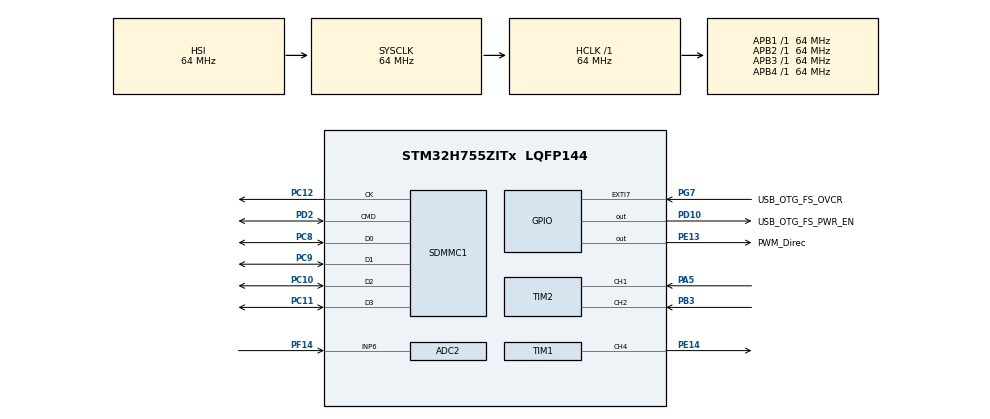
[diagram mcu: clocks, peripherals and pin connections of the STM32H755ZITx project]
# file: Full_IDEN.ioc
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ADC2.Channel-0\#ChannelRegularConversion=ADC_CHANNEL_6
ADC2.ConversionDataManagement=ADC_CONVERSIONDATA_DMA_CIRCULAR
ADC2.ExternalTrigConv=ADC_EXTERNALTRIG_T1_TRGO
ADC2.NbrOfConversionFlag=1
ADC2.OffsetNumber-0\#ChannelRegularConversion=ADC_OFFSET_NONE
ADC2.OffsetSignedSaturation-0\#ChannelRegularConversion=DISABLE
ADC2.Rank-0\#ChannelRegularConversion=1
ADC2.SamplingTime-0\#ChannelRegularConversion=ADC_SAMPLETIME_1CYCLE_5
CortexM4.IPs=FATFS_M4\:I,FREERTOS_M4\:I,IWDG2\:I,RCC,WWDG2\:I,DMA,BDMA,MDMA,NVIC2\:I,ETH,USART3,DEBUG,PDM2PCM_M4\:I,PWR,RESMGR_UTILITY,SYS_M4\:I,USB_DEVICE_M4\:I,USB_HOST_M4\:I,CORTEX_M4\:I,GPIO,OPENAMP_M4\:I,VREFBUF,NUCLEO-H755ZI-Q
CortexM7.IPs=FATFS_M7\:I,FREERTOS_M7\:I,IWDG1\:I,RCC\:I,WWDG1\:I,DMA\:I,BDMA\:I,MDMA\:I,NVIC1\:I,ETH\:I,USART3\:I,USB_OTG_FS\:I,USB_OTG_FS1\:I,SYS\:I,CORTEX_M7\:I,DEBUG\:I,PDM2PCM_M7\:I,PWR\:I,RESMGR_UTILITY\:I,USB_DEVICE_M7\:I,USB_HOST_M7\:I,GPIO\:I,OPENAMP_M7\:I,VREFBUF\:I,NUCLEO-H755ZI-Q\:I,TIM2\:I,ADC2\:I,TIM1\:I,SDMMC1\:I
CortexM7.Pins=PE13
Dma.ADC2.0.Direction=DMA_PERIPH_TO_MEMORY
Dma.ADC2.0.EventEnable=DISABLE
Dma.ADC2.0.FIFOMode=DMA_FIFOMODE_DISABLE
Dma.ADC2.0.Instance=DMA1_Stream0
Dma.ADC2.0.MemDataAlignment=DMA_MDATAALIGN_HALFWORD
Dma.ADC2.0.MemInc=DMA_MINC_ENABLE
Dma.ADC2.0.Mode=DMA_CIRCULAR
Dma.ADC2.0.PeriphDataAlignment=DMA_PDATAALIGN_HALFWORD
Dma.ADC2.0.PeriphInc=DMA_PINC_DISABLE
Dma.ADC2.0.Polarity=HAL_DMAMUX_REQ_GEN_RISING
Dma.ADC2.0.Priority=DMA_PRIORITY_LOW
Dma.ADC2.0.RequestNumber=1
Dma.ADC2.0.SignalID=NONE
Dma.ADC2.0.SyncEnable=DISABLE
Dma.ADC2.0.SyncPolarity=HAL_DMAMUX_SYNC_NO_EVENT
Dma.ADC2.0.SyncRequestNumber=1
Dma.ADC2.0.SyncSignalID=NONE
Dma.Request0=ADC2
FATFS_M7._FS_LOCK=3
FATFS_M7._USE_EXPAND=1
FATFS_M7._USE_LFN=2
Mcu.Family=STM32H7
Mcu.Name=STM32H755ZITx
Mcu.Package=LQFP144
NUCLEO-H755ZI-Q.BUTTON=1
NUCLEO-H755ZI-Q.Bsp_Common_DEMO=true
NUCLEO-H755ZI-Q.LD1=true
NUCLEO-H755ZI-Q.LD2=true
NUCLEO-H755ZI-Q.LD3=true
NUCLEO-H755ZI-Q.VCP=true
NVIC1.DMA1_Stream0_IRQn=true\:0\:0\:false\:false\:true\:false\:true\:true
NVIC1.EXTI15_10_IRQn=true\:0\:0\:false\:false\:true\:false\:true\:true
NVIC1.PriorityGroup=NVIC_PRIORITYGROUP_4
NVIC1.TIM1_UP_IRQn=true\:0\:0\:false\:false\:true\:true\:true\:true
NVIC2.PriorityGroup=NVIC_PRIORITYGROUP_4
PA1.PinAttribute=CortexM7
PA1.Signal=ETH_REF_CLK
PA11.PinAttribute=CortexM7
PA11.Signal=USB_OTG_FS_DM
PA12.PinAttribute=CortexM7
PA12.Signal=USB_OTG_FS_DP
PA2.PinAttribute=CortexM7
PA2.Signal=ETH_MDIO
PA5.PinAttribute=CortexM7
PA5.Signal=S_TIM2_CH1_ETR
PA7.PinAttribute=CortexM7
PA7.Signal=ETH_CRS_DV
PA8.PinAttribute=CortexM7
PA8.Signal=USB_OTG_FS_SOF
PA9.PinAttribute=CortexM7
PA9.Signal=USB_OTG_FS_VBUS
PB13.PinAttribute=CortexM7
PB13.Signal=ETH_TXD1
PB3\ (JTDO/TRACESWO).PinAttribute=CortexM7
PB3\ (JTDO/TRACESWO).Signal=S_TIM2_CH2
PC1.PinAttribute=CortexM7
PC1.Signal=ETH_MDC
PC10.Mode=SD_4_bits_Wide_bus
PC10.PinAttribute=CortexM7
PC10.Signal=SDMMC1_D2
PC11.Mode=SD_4_bits_Wide_bus
PC11.PinAttribute=CortexM7
PC11.Signal=SDMMC1_D3
PC12.Mode=SD_4_bits_Wide_bus
PC12.PinAttribute=CortexM7
PC12.Signal=SDMMC1_CK
PC14-OSC32_IN\ (OSC32_IN).PinAttribute=Free
PC14-OSC32_IN\ (OSC32_IN).Signal=RCC_OSC32_IN
PC15-OSC32_OUT\ (OSC32_OUT).PinAttribute=Free
PC15-OSC32_OUT\ (OSC32_OUT).Signal=RCC_OSC32_OUT
PC4.PinAttribute=CortexM7
PC4.Signal=ETH_RXD0
PC5.PinAttribute=CortexM7
PC5.Signal=ETH_RXD1
PC8.Mode=SD_4_bits_Wide_bus
PC8.PinAttribute=CortexM7
PC8.Signal=SDMMC1_D0
PC9.Mode=SD_4_bits_Wide_bus
PC9.PinAttribute=CortexM7
PC9.Signal=SDMMC1_D1
PD10.GPIO_Label=USB_OTG_FS_PWR_EN
PD10.PinAttribute=Free
PD10.Signal=GPIO_Output
PD2.Mode=SD_4_bits_Wide_bus
PD2.PinAttribute=CortexM7
PD2.Signal=SDMMC1_CMD
PD8.Signal=USART3_TX
PD9.Signal=USART3_RX
PE13.GPIO_Label=PWM_Direc
PE13.PinAttribute=CortexM7
PE13.Signal=GPIO_Output
PE14.PinAttribute=CortexM7
PE14.Signal=S_TIM1_CH4
PF14.Mode=IN6-Single-Ended
PF14.PinAttribute=CortexM7
PF14.Signal=ADC2_INP6
PG11.PinAttribute=CortexM7
PG11.Signal=ETH_TX_EN
PG13.PinAttribute=CortexM7
PG13.Signal=ETH_TXD0
PG7.GPIO_Label=USB_OTG_FS_OVCR
PG7.PinAttribute=Free
PG7.Signal=GPXTI7
PH0-OSC_IN\ (PH0).PinAttribute=Free
PH0-OSC_IN\ (PH0).Signal=RCC_OSC_IN
PH1-OSC_OUT\ (PH1).PinAttribute=Free
PH1-OSC_OUT\ (PH1).Signal=RCC_OSC_OUT
ProjectManager.HeapSize=M4-0x200,M7-0x200
ProjectManager.StackSize=M4-0x400,M7-0x400
ProjectManager.TargetToolchain=CMake
RCC.ADCFreq_Value=80000000
RCC.APB1Freq_Value=64000000
RCC.APB2Freq_Value=64000000
RCC.APB3Freq_Value=64000000
RCC.APB4Freq_Value=64000000
RCC.CortexFreq_Value=64000000
RCC.DIVM1=4
RCC.DIVM2=4
RCC.DIVN1=9
RCC.DIVN2=10
RCC.HCLKFreq_Value=64000000
RCC.PLL2FRACN=0
RCC.PLL3FRACN=0
RCC.PLLFRACN=3072
RCC.SYSCLKFreq_VALUE=64000000
RCC.SupplySource=PWR_DIRECT_SMPS_SUPPLY
RCC.USBFreq_Value=75000000
SDMMC1.ClockDiv=12
SH.S_TIM1_CH4.0=TIM1_CH4,PWM Generation4 CH4
SH.S_TIM2_CH1_ETR.0=TIM2_CH1,Encoder_Interface
SH.S_TIM2_CH2.0=TIM2_CH2,Encoder_Interface
TIM1.Channel-PWM\ Generation4\ CH4=TIM_CHANNEL_4
TIM1.Period=50 - 1
TIM1.Prescaler=64 - 1
TIM1.TIM_MasterOutputTrigger=TIM_TRGO_UPDATE
TIM2.EncoderMode=TIM_ENCODERMODE_TI12
TIM2.IC1Filter=3
TIM2.IC2Filter=3
VP_FATFS_M7_VS_SDIO.Mode=SDIO
VP_NUCLEO-H755ZI-Q_VS_BSP_COMMON.Mode=COMMON
VP_SYS_M4_VS_Systick.Mode=SysTick
VP_TIM1_VS_ClockSourceINT.Mode=Internal
board=NUCLEO-H755ZI-Q

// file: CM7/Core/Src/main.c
/* USER CODE BEGIN Header */
/**
 ******************************************************************************
 * @file           : main.c
 * @brief          : Main program body
 ******************************************************************************
 * @attention
 *
 * Copyright (c) 2026 STMicroelectronics.
 * All rights reserved.
 *
 * This software is licensed under terms that can be found in the LICENSE file
 * in the root directory of this software component.
 * If no LICENSE file comes with this software, it is provided AS-IS.
 *
 ******************************************************************************
 */
/* USER CODE END Header */
#include "main.h"
#include "fatfs.h"

/* USER CODE BEGIN Includes */
#ifdef __cplusplus
extern "C"
{
#endif
  void app_main(void);
#ifdef __cplusplus
}
#endif

/* USER CODE END Includes */

/* USER CODE BEGIN PD */

/* DUAL_CORE_BOOT_SYNC_SEQUENCE: Define for dual core boot synchronization    */
/*                             demonstration code based on hardware semaphore */
/* This define is present in both CM7/CM4 projects                            */
/* To comment when developping/debugging on a single core                     */
// #define DUAL_CORE_BOOT_SYNC_SEQUENCE

#if defined(DUAL_CORE_BOOT_SYNC_SEQUENCE)
#ifndef HSEM_ID_0
#define HSEM_ID_0 (0U) /* HW semaphore 0*/
#endif
#endif /* DUAL_CORE_BOOT_SYNC_SEQUENCE */

/* USER CODE END PD */

COM_InitTypeDef BspCOMInit;
__IO uint32_t BspButtonState = BUTTON_RELEASED;
ADC_HandleTypeDef hadc2;
DMA_HandleTypeDef hdma_adc2;

SD_HandleTypeDef hsd1;

TIM_HandleTypeDef htim1;
TIM_HandleTypeDef htim2;

/* USER CODE BEGIN PV */
// uint16_t adc_buffer[1];

volatile uint32_t k2 = 0; // ADC interrupt
volatile uint32_t k3 = 0; // Timer interrupt
/* USER CODE END PV */

void SystemClock_Config(void);
static void MX_GPIO_Init(void);
static void MX_DMA_Init(void);
static void MX_TIM2_Init(void);
static void MX_ADC2_Init(void);
static void MX_TIM1_Init(void);
static void MX_SDMMC1_SD_Init(void);

int main(void)
{

/* USER CODE BEGIN Boot_Mode_Sequence_0 */
#if defined(DUAL_CORE_BOOT_SYNC_SEQUENCE)
  int32_t timeout;
#endif /* DUAL_CORE_BOOT_SYNC_SEQUENCE */
/* USER CODE END Boot_Mode_Sequence_0 */

/* USER CODE BEGIN Boot_Mode_Sequence_1 */
#if defined(DUAL_CORE_BOOT_SYNC_SEQUENCE)
  /* Wait until CPU2 boots and enters in stop mode or timeout*/
  timeout = 0xFFFF;
  while ((__HAL_RCC_GET_FLAG(RCC_FLAG_D2CKRDY) != RESET) && (timeout-- > 0))
    ;
  if (timeout < 0)
  {
    Error_Handler();
  }
#endif /* DUAL_CORE_BOOT_SYNC_SEQUENCE */
       /* USER CODE END Boot_Mode_Sequence_1 */
  /* MCU Configuration--------------------------------------------------------*/

  /* Reset of all peripherals, Initializes the Flash interface and the Systick. */
  HAL_Init();

  /* Configure the system clock */
  SystemClock_Config();
/* USER CODE BEGIN Boot_Mode_Sequence_2 */
#if defined(DUAL_CORE_BOOT_SYNC_SEQUENCE)
  /* When system initialization is finished, Cortex-M7 will release Cortex-M4 by means of
  HSEM notification */
  /*HW semaphore Clock enable*/
  __HAL_RCC_HSEM_CLK_ENABLE();
  /*Take HSEM */
  HAL_HSEM_FastTake(HSEM_ID_0);
  /*Release HSEM in order to notify the CPU2(CM4)*/
  HAL_HSEM_Release(HSEM_ID_0, 0);
  /* wait until CPU2 wakes up from stop mode */
  timeout = 0xFFFF;
  while ((__HAL_RCC_GET_FLAG(RCC_FLAG_D2CKRDY) == RESET) && (timeout-- > 0))
    ;
  if (timeout < 0)
  {
    Error_Handler();
  }
#endif /* DUAL_CORE_BOOT_SYNC_SEQUENCE */
       /* USER CODE END Boot_Mode_Sequence_2 */

  /* Initialize all configured peripherals */
  MX_GPIO_Init();
  MX_DMA_Init();
  MX_TIM2_Init();
  MX_ADC2_Init();
  MX_TIM1_Init();
  MX_SDMMC1_SD_Init();
  MX_FATFS_Init();

  /* Initialize leds */
  BSP_LED_Init(LED_GREEN);
  BSP_LED_Init(LED_YELLOW);
  BSP_LED_Init(LED_RED);

  /* Initialize USER push-button, will be used to trigger an interrupt each time it's pressed.*/
  BSP_PB_Init(BUTTON_USER, BUTTON_MODE_EXTI);

  /* Initialize COM1 port (115200, 8 bits (7-bit data + 1 stop bit), no parity */
  BspCOMInit.BaudRate = 115200;
  BspCOMInit.WordLength = COM_WORDLENGTH_8B;
  BspCOMInit.StopBits = COM_STOPBITS_1;
  BspCOMInit.Parity = COM_PARITY_NONE;
  BspCOMInit.HwFlowCtl = COM_HWCONTROL_NONE;
  if (BSP_COM_Init(COM1, &BspCOMInit) != BSP_ERROR_NONE)
  {
    Error_Handler();
  }

  /* USER CODE BEGIN BSP */
  /* -- Sample board code to send message over COM1 port ---- */
  printf("Welcome to STM32 world !\n\r");
  /* -- Sample board code to switch on leds ---- */
  BSP_LED_On(LED_GREEN);
  BSP_LED_On(LED_YELLOW);
  BSP_LED_On(LED_RED);

  app_main();
  // *! -------------------------- APP MAIN -------------------------- !* //
  /* USER CODE END BSP */

  /* Infinite loop */
  /* USER CODE BEGIN WHILE */
  while (1)
  {

    /* -- Sample board code for User push-button in interrupt mode ---- */
    // if (BspButtonState == BUTTON_PRESSED)
    //     {
    //       /* Update button state */
    //       BspButtonState = BUTTON_RELEASED;
    //       /* -- Sample board code to toggle leds ---- */
    //       BSP_LED_Toggle(LED_GREEN);
    //       BSP_LED_Toggle(LED_YELLOW);
    //       BSP_LED_Toggle(LED_RED);
    //       /* ..... Perform your action ..... */
    //     }
    HAL_Delay(500);
    /* USER CODE END WHILE */

  }
}

void SystemClock_Config(void)
{
  RCC_OscInitTypeDef RCC_OscInitStruct = {0};
  RCC_ClkInitTypeDef RCC_ClkInitStruct = {0};

  /** Supply configuration update enable
   */
  HAL_PWREx_ConfigSupply(PWR_DIRECT_SMPS_SUPPLY);

  /** Configure the main internal regulator output voltage
   */
  __HAL_PWR_VOLTAGESCALING_CONFIG(PWR_REGULATOR_VOLTAGE_SCALE3);

  while (!__HAL_PWR_GET_FLAG(PWR_FLAG_VOSRDY))
  {
  }

  /** Initializes the RCC Oscillators according to the specified parameters
   * in the RCC_OscInitTypeDef structure.
   */
  RCC_OscInitStruct.OscillatorType = RCC_OSCILLATORTYPE_HSI;
  RCC_OscInitStruct.HSIState = RCC_HSI_DIV1;
  RCC_OscInitStruct.HSICalibrationValue = RCC_HSICALIBRATION_DEFAULT;
  RCC_OscInitStruct.PLL.PLLState = RCC_PLL_ON;
  RCC_OscInitStruct.PLL.PLLSource = RCC_PLLSOURCE_HSI;
  RCC_OscInitStruct.PLL.PLLM = 4;
  RCC_OscInitStruct.PLL.PLLN = 9;
  RCC_OscInitStruct.PLL.PLLP = 2;
  RCC_OscInitStruct.PLL.PLLQ = 2;
  RCC_OscInitStruct.PLL.PLLR = 2;
  RCC_OscInitStruct.PLL.PLLRGE = RCC_PLL1VCIRANGE_3;
  RCC_OscInitStruct.PLL.PLLVCOSEL = RCC_PLL1VCOMEDIUM;
  RCC_OscInitStruct.PLL.PLLFRACN = 3072;
  if (HAL_RCC_OscConfig(&RCC_OscInitStruct) != HAL_OK)
  {
    Error_Handler();
  }

  /** Initializes the CPU, AHB and APB buses clocks
   */
  RCC_ClkInitStruct.ClockType = RCC_CLOCKTYPE_HCLK | RCC_CLOCKTYPE_SYSCLK | RCC_CLOCKTYPE_PCLK1 | RCC_CLOCKTYPE_PCLK2 | RCC_CLOCKTYPE_D3PCLK1 | RCC_CLOCKTYPE_D1PCLK1;
  RCC_ClkInitStruct.SYSCLKSource = RCC_SYSCLKSOURCE_HSI;
  RCC_ClkInitStruct.SYSCLKDivider = RCC_SYSCLK_DIV1;
  RCC_ClkInitStruct.AHBCLKDivider = RCC_HCLK_DIV1;
  RCC_ClkInitStruct.APB3CLKDivider = RCC_APB3_DIV1;
  RCC_ClkInitStruct.APB1CLKDivider = RCC_APB1_DIV1;
  RCC_ClkInitStruct.APB2CLKDivider = RCC_APB2_DIV1;
  RCC_ClkInitStruct.APB4CLKDivider = RCC_APB4_DIV1;

  if (HAL_RCC_ClockConfig(&RCC_ClkInitStruct, FLASH_LATENCY_1) != HAL_OK)
  {
    Error_Handler();
  }
}

static void MX_ADC2_Init(void)
{

  ADC_ChannelConfTypeDef sConfig = {0};

  /** Common config
   */
  hadc2.Instance = ADC2;
  hadc2.Init.ClockPrescaler = ADC_CLOCK_ASYNC_DIV2;
  hadc2.Init.Resolution = ADC_RESOLUTION_16B;
  hadc2.Init.ScanConvMode = ADC_SCAN_DISABLE;
  hadc2.Init.EOCSelection = ADC_EOC_SINGLE_CONV;
  hadc2.Init.LowPowerAutoWait = DISABLE;
  hadc2.Init.ContinuousConvMode = DISABLE;
  hadc2.Init.NbrOfConversion = 1;
  hadc2.Init.DiscontinuousConvMode = DISABLE;
  hadc2.Init.ExternalTrigConv = ADC_EXTERNALTRIG_T1_TRGO;
  hadc2.Init.ExternalTrigConvEdge = ADC_EXTERNALTRIGCONVEDGE_RISING;
  hadc2.Init.ConversionDataManagement = ADC_CONVERSIONDATA_DMA_CIRCULAR;
  hadc2.Init.Overrun = ADC_OVR_DATA_PRESERVED;
  hadc2.Init.LeftBitShift = ADC_LEFTBITSHIFT_NONE;
  hadc2.Init.OversamplingMode = DISABLE;
  hadc2.Init.Oversampling.Ratio = 1;
  if (HAL_ADC_Init(&hadc2) != HAL_OK)
  {
    Error_Handler();
  }

  /** Configure Regular Channel
   */
  sConfig.Channel = ADC_CHANNEL_6;
  sConfig.Rank = ADC_REGULAR_RANK_1;
  sConfig.SamplingTime = ADC_SAMPLETIME_1CYCLE_5;
  sConfig.SingleDiff = ADC_SINGLE_ENDED;
  sConfig.OffsetNumber = ADC_OFFSET_NONE;
  sConfig.Offset = 0;
  sConfig.OffsetSignedSaturation = DISABLE;
  if (HAL_ADC_ConfigChannel(&hadc2, &sConfig) != HAL_OK)
  {
    Error_Handler();
  }
}

static void MX_SDMMC1_SD_Init(void)
{

  hsd1.Instance = SDMMC1;
  hsd1.Init.ClockEdge = SDMMC_CLOCK_EDGE_RISING;
  hsd1.Init.ClockPowerSave = SDMMC_CLOCK_POWER_SAVE_DISABLE;
  hsd1.Init.BusWide = SDMMC_BUS_WIDE_4B;
  hsd1.Init.HardwareFlowControl = SDMMC_HARDWARE_FLOW_CONTROL_DISABLE;
  hsd1.Init.ClockDiv = 15;
  if (HAL_SD_Init(&hsd1) != HAL_OK)
  {
    Error_Handler();
  }
}

static void MX_TIM1_Init(void)
{

  TIM_ClockConfigTypeDef sClockSourceConfig = {0};
  TIM_MasterConfigTypeDef sMasterConfig = {0};
  TIM_OC_InitTypeDef sConfigOC = {0};
  TIM_BreakDeadTimeConfigTypeDef sBreakDeadTimeConfig = {0};

  htim1.Instance = TIM1;
  htim1.Init.Prescaler = 64 - 1;
  htim1.Init.CounterMode = TIM_COUNTERMODE_UP;
  htim1.Init.Period = 50 - 1;
  htim1.Init.ClockDivision = TIM_CLOCKDIVISION_DIV1;
  htim1.Init.RepetitionCounter = 0;
  htim1.Init.AutoReloadPreload = TIM_AUTORELOAD_PRELOAD_DISABLE;
  if (HAL_TIM_Base_Init(&htim1) != HAL_OK)
  {
    Error_Handler();
  }
  sClockSourceConfig.ClockSource = TIM_CLOCKSOURCE_INTERNAL;
  if (HAL_TIM_ConfigClockSource(&htim1, &sClockSourceConfig) != HAL_OK)
  {
    Error_Handler();
  }
  if (HAL_TIM_PWM_Init(&htim1) != HAL_OK)
  {
    Error_Handler();
  }
  sMasterConfig.MasterOutputTrigger = TIM_TRGO_UPDATE;
  sMasterConfig.MasterOutputTrigger2 = TIM_TRGO2_RESET;
  sMasterConfig.MasterSlaveMode = TIM_MASTERSLAVEMODE_DISABLE;
  if (HAL_TIMEx_MasterConfigSynchronization(&htim1, &sMasterConfig) != HAL_OK)
  {
    Error_Handler();
  }
  sConfigOC.OCMode = TIM_OCMODE_PWM1;
  sConfigOC.Pulse = 0;
  sConfigOC.OCPolarity = TIM_OCPOLARITY_HIGH;
  sConfigOC.OCFastMode = TIM_OCFAST_DISABLE;
  sConfigOC.OCIdleState = TIM_OCIDLESTATE_RESET;
  sConfigOC.OCNIdleState = TIM_OCNIDLESTATE_RESET;
  if (HAL_TIM_PWM_ConfigChannel(&htim1, &sConfigOC, TIM_CHANNEL_4) != HAL_OK)
  {
    Error_Handler();
  }
  sBreakDeadTimeConfig.OffStateRunMode = TIM_OSSR_DISABLE;
  sBreakDeadTimeConfig.OffStateIDLEMode = TIM_OSSI_DISABLE;
  sBreakDeadTimeConfig.LockLevel = TIM_LOCKLEVEL_OFF;
  sBreakDeadTimeConfig.DeadTime = 0;
  sBreakDeadTimeConfig.BreakState = TIM_BREAK_DISABLE;
  sBreakDeadTimeConfig.BreakPolarity = TIM_BREAKPOLARITY_HIGH;
  sBreakDeadTimeConfig.BreakFilter = 0;
  sBreakDeadTimeConfig.Break2State = TIM_BREAK2_DISABLE;
  sBreakDeadTimeConfig.Break2Polarity = TIM_BREAK2POLARITY_HIGH;
  sBreakDeadTimeConfig.Break2Filter = 0;
  sBreakDeadTimeConfig.AutomaticOutput = TIM_AUTOMATICOUTPUT_DISABLE;
  if (HAL_TIMEx_ConfigBreakDeadTime(&htim1, &sBreakDeadTimeConfig) != HAL_OK)
  {
    Error_Handler();
  }
  HAL_TIM_MspPostInit(&htim1);
}

static void MX_TIM2_Init(void)
{

  TIM_Encoder_InitTypeDef sConfig = {0};
  TIM_MasterConfigTypeDef sMasterConfig = {0};

  htim2.Instance = TIM2;
  htim2.Init.Prescaler = 0;
  htim2.Init.CounterMode = TIM_COUNTERMODE_UP;
  htim2.Init.Period = 4294967295;
  htim2.Init.ClockDivision = TIM_CLOCKDIVISION_DIV1;
  htim2.Init.AutoReloadPreload = TIM_AUTORELOAD_PRELOAD_DISABLE;
  sConfig.EncoderMode = TIM_ENCODERMODE_TI12;
  sConfig.IC1Polarity = TIM_ICPOLARITY_RISING;
  sConfig.IC1Selection = TIM_ICSELECTION_DIRECTTI;
  sConfig.IC1Prescaler = TIM_ICPSC_DIV1;
  sConfig.IC1Filter = 3;
  sConfig.IC2Polarity = TIM_ICPOLARITY_RISING;
  sConfig.IC2Selection = TIM_ICSELECTION_DIRECTTI;
  sConfig.IC2Prescaler = TIM_ICPSC_DIV1;
  sConfig.IC2Filter = 3;
  if (HAL_TIM_Encoder_Init(&htim2, &sConfig) != HAL_OK)
  {
    Error_Handler();
  }
  sMasterConfig.MasterOutputTrigger = TIM_TRGO_RESET;
  sMasterConfig.MasterSlaveMode = TIM_MASTERSLAVEMODE_DISABLE;
  if (HAL_TIMEx_MasterConfigSynchronization(&htim2, &sMasterConfig) != HAL_OK)
  {
    Error_Handler();
  }
}

static void MX_DMA_Init(void)
{

  /* DMA controller clock enable */
  __HAL_RCC_DMA1_CLK_ENABLE();

  /* DMA interrupt init */
  /* DMA1_Stream0_IRQn interrupt configuration */
  HAL_NVIC_SetPriority(DMA1_Stream0_IRQn, 0, 0);
  HAL_NVIC_EnableIRQ(DMA1_Stream0_IRQn);
}

static void MX_GPIO_Init(void)
{
  GPIO_InitTypeDef GPIO_InitStruct = {0};

  /* GPIO Ports Clock Enable */
  __HAL_RCC_GPIOC_CLK_ENABLE();
  __HAL_RCC_GPIOA_CLK_ENABLE();
  __HAL_RCC_GPIOF_CLK_ENABLE();
  __HAL_RCC_GPIOE_CLK_ENABLE();
  __HAL_RCC_GPIOB_CLK_ENABLE();
  __HAL_RCC_GPIOD_CLK_ENABLE();
  __HAL_RCC_GPIOG_CLK_ENABLE();

  /*Configure GPIO pin Output Level */
  HAL_GPIO_WritePin(PWM_Direc_GPIO_Port, PWM_Direc_Pin, GPIO_PIN_RESET);

  /*Configure GPIO pins : PC1 PC4 PC5 */
  GPIO_InitStruct.Pin = GPIO_PIN_1 | GPIO_PIN_4 | GPIO_PIN_5;
  GPIO_InitStruct.Mode = GPIO_MODE_AF_PP;
  GPIO_InitStruct.Pull = GPIO_NOPULL;
  GPIO_InitStruct.Speed = GPIO_SPEED_FREQ_HIGH;
  GPIO_InitStruct.Alternate = GPIO_AF11_ETH;
  HAL_GPIO_Init(GPIOC, &GPIO_InitStruct);

  /*Configure GPIO pins : PA1 PA2 PA7 */
  GPIO_InitStruct.Pin = GPIO_PIN_1 | GPIO_PIN_2 | GPIO_PIN_7;
  GPIO_InitStruct.Mode = GPIO_MODE_AF_PP;
  GPIO_InitStruct.Pull = GPIO_NOPULL;
  GPIO_InitStruct.Speed = GPIO_SPEED_FREQ_HIGH;
  GPIO_InitStruct.Alternate = GPIO_AF11_ETH;
  HAL_GPIO_Init(GPIOA, &GPIO_InitStruct);

  /*Configure GPIO pin : PWM_Direc_Pin */
  GPIO_InitStruct.Pin = PWM_Direc_Pin;
  GPIO_InitStruct.Mode = GPIO_MODE_OUTPUT_PP;
  GPIO_InitStruct.Pull = GPIO_NOPULL;
  GPIO_InitStruct.Speed = GPIO_SPEED_FREQ_LOW;
  HAL_GPIO_Init(PWM_Direc_GPIO_Port, &GPIO_InitStruct);

  /*Configure GPIO pin : PB13 */
  GPIO_InitStruct.Pin = GPIO_PIN_13;
  GPIO_InitStruct.Mode = GPIO_MODE_AF_PP;
  GPIO_InitStruct.Pull = GPIO_NOPULL;
  GPIO_InitStruct.Speed = GPIO_SPEED_FREQ_HIGH;
  GPIO_InitStruct.Alternate = GPIO_AF11_ETH;
  HAL_GPIO_Init(GPIOB, &GPIO_InitStruct);

  /*Configure GPIO pins : PA8 PA11 PA12 */
  GPIO_InitStruct.Pin = GPIO_PIN_8 | GPIO_PIN_11 | GPIO_PIN_12;
  GPIO_InitStruct.Mode = GPIO_MODE_AF_PP;
  GPIO_InitStruct.Pull = GPIO_NOPULL;
  GPIO_InitStruct.Speed = GPIO_SPEED_FREQ_LOW;
  GPIO_InitStruct.Alternate = GPIO_AF10_OTG1_FS;
  HAL_GPIO_Init(GPIOA, &GPIO_InitStruct);

  /*Configure GPIO pins : PG11 PG13 */
  GPIO_InitStruct.Pin = GPIO_PIN_11 | GPIO_PIN_13;
  GPIO_InitStruct.Mode = GPIO_MODE_AF_PP;
  GPIO_InitStruct.Pull = GPIO_NOPULL;
  GPIO_InitStruct.Speed = GPIO_SPEED_FREQ_HIGH;
  GPIO_InitStruct.Alternate = GPIO_AF11_ETH;
  HAL_GPIO_Init(GPIOG, &GPIO_InitStruct);

}

/**
 * @brief  BSP Push Button callback
 * @param  Button Specifies the pressed button
 * @retval None
 */
void BSP_PB_Callback(Button_TypeDef Button)
{
  if (Button == BUTTON_USER)
  {
    BspButtonState = BUTTON_PRESSED;
  }
}

void Error_Handler(void)
{
  __disable_irq();
  while (1)
  {
  }
}
